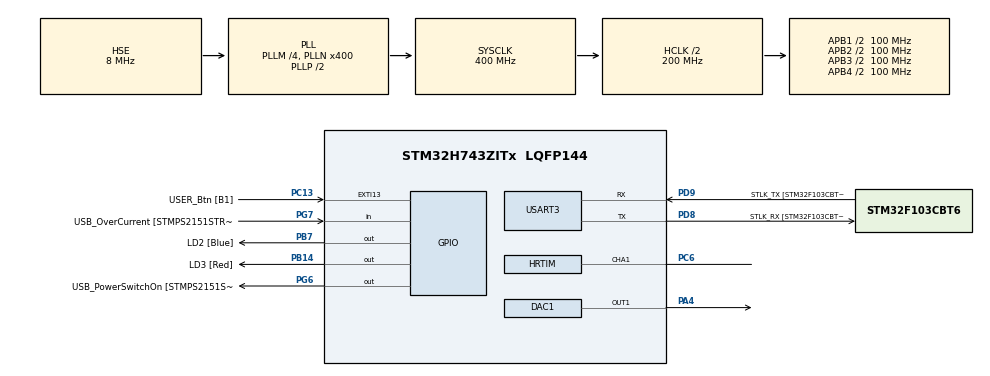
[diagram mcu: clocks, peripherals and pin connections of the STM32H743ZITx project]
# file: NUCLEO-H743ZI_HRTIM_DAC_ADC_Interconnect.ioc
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HRTIM.PreloadEnable-MasterTimer=HRTIM_PRELOAD_ENABLED
HRTIM.Periode_TA=0xFFF
DAC1.DAC_Channel-DAC_OUT1_ExtAndInt=DAC_CHANNEL_1
PB14.GPIO_Label=LD3 [Red]
PG6.GPIO_Label=USB_PowerSwitchOn [STMPS2151STR_EN]
PB13.Signal=ETH_TXD1
PG13.Signal=ETH_TXD0
RCC.SYSCLKSource=RCC_SYSCLKSOURCE_PLLCLK
USART3.VirtualMode-Asynchronous=VM_ASYNC
PA14\ (JTCK/SWCLK).Signal=DEBUG_JTCK-SWCLK
HRTIM.CompareUnit4-Output_TA1=__NULL
RCC.ADCCLockSelection=RCC_ADCCLKSOURCE_PLL3
RCC.APB2TimFreq_Value=216000000
HRTIM.PrescalerRatio_MASTER=HRTIM_PRESCALERRATIO_DIV1
PD8.Signal=USART3_TX
HRTIM.CompareUnit2-Output_TA1=__NULL
VP_HRTIM_VS_hrtimMasterTimerNoOutput.Mode=MasterTimer
RCC.DIVM3=5
RCC.DIVM2=5
RCC.DIVM1=4
PC4.GPIO_Label=RMII_RXD0
PA8.Signal=USB_OTG_FS_SOF
PA14\ (JTCK/SWCLK).Mode=Trace_Asynchronous_SW
RCC.CKPERSourceSelection=RCC_CLKPSOURCE_HSE
Mcu.Package=LQFP144
ADC2.Overrun=ADC_OVR_DATA_OVERWRITTEN
PA10.Signal=USB_OTG_FS_ID
PC14-OSC32_IN\ (OSC32_IN).Mode=LSE-External-Oscillator
RCC.APB2CLKDivider=RCC_HCLK_DIV2
RCC.APB4Freq_Value=100000000
RCC.APB1TimFreq_Value=108000000
DAC1.DAC_Trigger-DAC_OUT1_ExtAndInt=DAC_TRIGGER_HR1_TRGO1
PH0-OSC_IN\ (PH0).Mode=HSE-External-Clock-Source
RCC.DIVQ3=8
RCC.DIVQ1=4
PD9.GPIO_Label=STLK_TX [STM32F103CBT6_PA2]
HRTIM.NumberADCTriggerSource1=1
PA9.GPIO_Label=USB_VBUS
PC13.Signal=GPXTI13
PC6.Signal=HRTIM_CHA1
PA11.GPIO_Label=USB_DM
HRTIM.RepetitionUpdate-MasterTimer=HRTIM_UPDATEONREPETITION_ENABLED
RCC.APB1CLKDivider=RCC_HCLK_DIV4
PG13.GPIO_Label=RMII_TXD0
RCC.PWR_Regulator_Voltage_Scale=PWR_REGULATOR_VOLTAGE_SCALE1
PA8.GPIO_Label=USB_SOF [TP1]
ADC2.ContinuousConvMode=ENABLE
SH.COMP_DAC11_group.0=DAC1_OUT1,DAC_OUT1_ExtAndInt
PC6.Mode=Output_TA1
PA9.Signal=USB_OTG_FS_VBUS
RCC.DIVN3=250
RCC.DIVN2=125
RCC.DIVN1=400
HRTIM.ADCTrigger1_Source1=HRTIM_ADCTRIGGEREVENT13_MASTER_PERIOD
HRTIM.NumberSetSource1-Output_TA1=1
HRTIM.CompareUnit1-Output_TA1=HRTIM_COMPAREUNIT_1
PD8.Mode=Asynchronous
PB14.Signal=GPIO_Output
RCC.USBCLockSelection=RCC_USBCLKSOURCE_PLL3
ADC2.OffsetNumber-0\#ChannelRegularConversion=ADC_OFFSET_NONE
RCC.PRESCALERUSB=RCC_USBCLKSOURCE_PLL_DIV1_5
PG7.GPIO_Label=USB_OverCurrent [STMPS2151STR_FAULT]
PA1.GPIO_Label=RMII_REF_CLK
ADC2.Resolution=ADC_RESOLUTION_12B
HRTIM.CompareValue1-Output_TA1=3
PA4.Signal=COMP_DAC11_group
ADC2.NbrOfConversionFlag=1
PA11.Signal=USB_OTG_FS_DM
ProjectManager.HeapSize=0x200
HRTIM.PreloadEnable-Output_TA1=HRTIM_PRELOAD_ENABLED
NVIC.PriorityGroup=NVIC_PRIORITYGROUP_4
PB3\ (JTDO/TRACESWO).Mode=Trace_Asynchronous_SW
RCC.DIVR3=5
PC1.Signal=ETH_MDC
PA13\ (JTMS/SWDIO).Signal=DEBUG_JTMS-SWDIO
Mcu.Family=STM32H7
HRTIM.CompareUnit3-Output_TA1=__NULL
ADC2.ExternalTrigConv=ADC_EXTERNALTRIG_HR1_ADCTRG1
RCC.CortexFreq_Value=400000000
VP_ADC2_VS_DAC1_OUT1_L4.Mode=IN-DAC1-OUT1
PG6.Signal=GPIO_Output
RCC.HPRE=RCC_HCLK_DIV2
ADC2.Channel-0\#ChannelRegularConversion=ADC_CHANNEL_DAC1CH1_ADC2
PH0-OSC_IN\ (PH0).Signal=RCC_OSC_IN
PC15-OSC32_OUT\ (OSC32_OUT).Mode=LSE-External-Oscillator
RCC.SYSCLKSourceVirtual=RCC_SYSCLKSOURCE_PLLCLK
HRTIM.NumberResetSource1-Output_TA1=1
PC13.GPIO_Label=USER_Btn [B1]
PB13.GPIO_Label=RMII_TXD1
PD9.Mode=Asynchronous
PG11.Signal=ETH_TX_EN
ProjectManager.StackSize=0x400
HRTIM.ADCTrigger_Id1=HRTIM_ADCTRIGGER_1
NVIC.ADC_IRQn=true\:0\:0\:false\:false\:true\:true\:true
PA12.Signal=USB_OTG_FS_DP
RCC.HCLKFreq_Value=200000000
HRTIM.SetOutput1_Source1-Output_TA1=HRTIM_OUTPUTSET_TIMPER
RCC.AHBFreq_Value=216000000
RCC.HSE_VALUE=8000000
RCC.PLLMUL=RCC_PLL_MUL9
HRTIM.Periode_MASTER=0x7
PA10.GPIO_Label=USB_ID
PB7.Signal=GPIO_Output
RCC.APB3Freq_Value=100000000
PB7.GPIO_Label=LD2 [Blue]
RCC.D1PPRE=RCC_APB3_DIV2
PA2.GPIO_Label=RMII_MDIO
ADC2.SamplingTime-0\#ChannelRegularConversion=ADC_SAMPLETIME_810CYCLES_5
PG11.GPIO_Label=RMII_TX_EN
PC5.Signal=ETH_RXD1
ADC2.Rank-0\#ChannelRegularConversion=1
RCC.PLLSourceVirtual=RCC_PLLSOURCE_HSE
PG7.Signal=GPIO_Input
PA13\ (JTMS/SWDIO).Mode=Trace_Asynchronous_SW
HRTIM.CompareValue2-Output_TA1=3
PC4.Signal=ETH_RXD0
RCC.D2PPRE2=RCC_APB2_DIV2
RCC.D2PPRE1=RCC_APB1_DIV2
PD9.Signal=USART3_RX
HRTIM.DACSynchro-MasterTimer=HRTIM_DACSYNC_DACTRIGOUT_1
HRTIM.ResetOutput1_Source1-Output_TA1=HRTIM_OUTPUTRESET_TIMCMP1
ADC2.OffsetSignedSaturation-0\#ChannelRegularConversion=DISABLE
PA12.GPIO_Label=USB_DP
PH1-OSC_OUT\ (PH1).Signal=RCC_OSC_OUT
PD8.GPIO_Label=STLK_RX [STM32F103CBT6_PA3]
PB3\ (JTDO/TRACESWO).Signal=DEBUG_JTDO-SWO
ProjectManager.TargetToolchain=STM32CubeIDE
PC15-OSC32_OUT\ (OSC32_OUT).Signal=RCC_OSC32_OUT
RCC.USBFreq_Value=50000000
PA1.Signal=ETH_REF_CLK
board=NUCLEO-H743ZI
RCC.VCOOutputFreq_Value=432000000
RCC.APB2Freq_Value=100000000
RCC.ADCFreq_Value=80000000
PC1.GPIO_Label=RMII_MDC
HRTIM.RepetitionUpdate-Output_TA1=HRTIM_UPDATEONREPETITION_ENABLED
Mcu.Name=STM32H743ZITx
PA2.Signal=ETH_MDIO
RCC.48MHZClocksFreq_Value=24000000
RCC.SYSCLKFreq_VALUE=400000000
PA7.GPIO_Label=RMII_CRS_DV
PC14-OSC32_IN\ (OSC32_IN).Signal=RCC_OSC32_IN
PC5.GPIO_Label=RMII_RXD1
RCC.HSI_VALUE=64000000
ADC2.ExternalTrigConvEdge=ADC_EXTERNALTRIGCONVEDGE_FALLING
RCC.PLLQ=9
PH0-OSC_IN\ (PH0).GPIO_Label=MCO
RCC.PLLM=25
RCC.PLLN=432
RCC.D3PPRE=RCC_APB4_DIV2
RCC.APB1Freq_Value=100000000
DAC1.WaveGeneration-DAC_OUT1_ExtAndInt=TriangleWaveGeneration
PA7.Signal=ETH_CRS_DV
DAC1.TriangleAmplitude-DAC_OUT1_ExtAndInt=DAC_TRIANGLEAMPLITUDE_4095

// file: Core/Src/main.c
/* USER CODE BEGIN Header */
/**
  ******************************************************************************
  * @file           : main.c
  * @brief          : Main program body
  ******************************************************************************
  * @attention
  *
  * <h2><center>&copy; Copyright (c) 2021 STMicroelectronics.
  * All rights reserved.</center></h2>
  *
  * This software component is licensed by ST under BSD 3-Clause license,
  * the "License"; You may not use this file except in compliance with the
  * License. You may obtain a copy of the License at:
  *                        opensource.org/licenses/BSD-3-Clause
  *
  ******************************************************************************
  */
/* USER CODE END Header */
#include "main.h"

ADC_HandleTypeDef hadc2;

DAC_HandleTypeDef hdac1;

HRTIM_HandleTypeDef hhrtim;

UART_HandleTypeDef huart3;

/* USER CODE BEGIN PV */

uint32_t uwConvertedValue = 0;

/* USER CODE END PV */

void SystemClock_Config(void);
static void MX_GPIO_Init(void);
static void MX_USART3_UART_Init(void);
static void MX_ADC2_Init(void);
static void MX_DAC1_Init(void);
static void MX_HRTIM_Init(void);

int main(void)
{
  /* USER CODE BEGIN 1 */

	  /* Enable I-Cache */
	  SCB_EnableICache();

	  /* Enable D-Cache */
	  SCB_EnableDCache();

  /* USER CODE END 1 */

  /* MCU Configuration--------------------------------------------------------*/

  /* Reset of all peripherals, Initializes the Flash interface and the Systick. */
  HAL_Init();

  /* Configure the system clock */
  SystemClock_Config();

  /* Initialize all configured peripherals */
  MX_GPIO_Init();
  MX_USART3_UART_Init();
  MX_ADC2_Init();
  MX_DAC1_Init();
  MX_HRTIM_Init();
  /* USER CODE BEGIN 2 */

  /*## Enable DAC Channel1 ################################################################*/
  if (HAL_DAC_Start(&hdac1, DAC_CHANNEL_1) != HAL_OK)
  {
    /* Start Error */
    Error_Handler();
  }

  /*## Start ADC conversion ############################################################ */
  if (HAL_ADC_Start_IT(&hadc2) != HAL_OK)
  {
    Error_Handler();
  }

  /*## Start PWM signals generation ########################################################*/
  if (HAL_HRTIM_WaveformOutputStart(&hhrtim, HRTIM_OUTPUT_TA1) != HAL_OK)
  {
    /* PWM Generation Error */
    Error_Handler();
  }

  /*## Start HRTIM counter ###################################################################*/
	if (HAL_HRTIM_WaveformCounterStart(&hhrtim, HRTIM_TIMERID_MASTER + HRTIM_TIMERID_TIMER_A) != HAL_OK)
  {
    /* PWM Generation Error */
    Error_Handler();
  }

  /* USER CODE END 2 */

  /* Infinite loop */
  while (1)
  {

  }
}

void SystemClock_Config(void)
{
  RCC_OscInitTypeDef RCC_OscInitStruct = {0};
  RCC_ClkInitTypeDef RCC_ClkInitStruct = {0};

  /** Supply configuration update enable
  */
  HAL_PWREx_ConfigSupply(PWR_LDO_SUPPLY);
  /** Configure the main internal regulator output voltage
  */
  __HAL_PWR_VOLTAGESCALING_CONFIG(PWR_REGULATOR_VOLTAGE_SCALE1);

  while(!__HAL_PWR_GET_FLAG(PWR_FLAG_VOSRDY)) {}
  /** Macro to configure the PLL clock source
  */
  __HAL_RCC_PLL_PLLSOURCE_CONFIG(RCC_PLLSOURCE_HSE);
  /** Initializes the RCC Oscillators according to the specified parameters
  * in the RCC_OscInitTypeDef structure.
  */
  RCC_OscInitStruct.OscillatorType = RCC_OSCILLATORTYPE_HSE;
  RCC_OscInitStruct.HSEState = RCC_HSE_BYPASS;
  RCC_OscInitStruct.PLL.PLLState = RCC_PLL_ON;
  RCC_OscInitStruct.PLL.PLLSource = RCC_PLLSOURCE_HSE;
  RCC_OscInitStruct.PLL.PLLM = 4;
  RCC_OscInitStruct.PLL.PLLN = 400;
  RCC_OscInitStruct.PLL.PLLP = 2;
  RCC_OscInitStruct.PLL.PLLQ = 4;
  RCC_OscInitStruct.PLL.PLLR = 2;
  RCC_OscInitStruct.PLL.PLLRGE = RCC_PLL1VCIRANGE_1;
  RCC_OscInitStruct.PLL.PLLVCOSEL = RCC_PLL1VCOWIDE;
  RCC_OscInitStruct.PLL.PLLFRACN = 0;
  if (HAL_RCC_OscConfig(&RCC_OscInitStruct) != HAL_OK)
  {
    Error_Handler();
  }
  /** Initializes the CPU, AHB and APB buses clocks
  */
  RCC_ClkInitStruct.ClockType = RCC_CLOCKTYPE_HCLK|RCC_CLOCKTYPE_SYSCLK
                              |RCC_CLOCKTYPE_PCLK1|RCC_CLOCKTYPE_PCLK2
                              |RCC_CLOCKTYPE_D3PCLK1|RCC_CLOCKTYPE_D1PCLK1;
  RCC_ClkInitStruct.SYSCLKSource = RCC_SYSCLKSOURCE_PLLCLK;
  RCC_ClkInitStruct.SYSCLKDivider = RCC_SYSCLK_DIV1;
  RCC_ClkInitStruct.AHBCLKDivider = RCC_HCLK_DIV2;
  RCC_ClkInitStruct.APB3CLKDivider = RCC_APB3_DIV2;
  RCC_ClkInitStruct.APB1CLKDivider = RCC_APB1_DIV2;
  RCC_ClkInitStruct.APB2CLKDivider = RCC_APB2_DIV2;
  RCC_ClkInitStruct.APB4CLKDivider = RCC_APB4_DIV2;

  if (HAL_RCC_ClockConfig(&RCC_ClkInitStruct, FLASH_LATENCY_2) != HAL_OK)
  {
    Error_Handler();
  }
}

static void MX_ADC2_Init(void)
{

  ADC_ChannelConfTypeDef sConfig = {0};

  /** Common config
  */
  hadc2.Instance = ADC2;
  hadc2.Init.ClockPrescaler = ADC_CLOCK_ASYNC_DIV4;
  hadc2.Init.Resolution = ADC_RESOLUTION_12B;
  hadc2.Init.ScanConvMode = ADC_SCAN_DISABLE;
  hadc2.Init.EOCSelection = ADC_EOC_SINGLE_CONV;
  hadc2.Init.LowPowerAutoWait = DISABLE;
  hadc2.Init.ContinuousConvMode = ENABLE;
  hadc2.Init.NbrOfConversion = 1;
  hadc2.Init.DiscontinuousConvMode = DISABLE;
  hadc2.Init.ExternalTrigConv = ADC_EXTERNALTRIG_HR1_ADCTRG1;
  hadc2.Init.ExternalTrigConvEdge = ADC_EXTERNALTRIGCONVEDGE_FALLING;
  hadc2.Init.ConversionDataManagement = ADC_CONVERSIONDATA_DR;
  hadc2.Init.Overrun = ADC_OVR_DATA_OVERWRITTEN;
  hadc2.Init.LeftBitShift = ADC_LEFTBITSHIFT_NONE;
  hadc2.Init.OversamplingMode = DISABLE;
  if (HAL_ADC_Init(&hadc2) != HAL_OK)
  {
    Error_Handler();
  }
  /** Configure Regular Channel
  */
  sConfig.Channel = ADC_CHANNEL_DAC1CH1_ADC2;
  sConfig.Rank = ADC_REGULAR_RANK_1;
  sConfig.SamplingTime = ADC_SAMPLETIME_810CYCLES_5;
  sConfig.SingleDiff = ADC_SINGLE_ENDED;
  sConfig.OffsetNumber = ADC_OFFSET_NONE;
  sConfig.Offset = 0;
  sConfig.OffsetSignedSaturation = DISABLE;
  if (HAL_ADC_ConfigChannel(&hadc2, &sConfig) != HAL_OK)
  {
    Error_Handler();
  }
  /* USER CODE BEGIN ADC2_Init 2 */

  if (HAL_ADCEx_Calibration_Start(&hadc2, ADC_CALIB_OFFSET, ADC_SINGLE_ENDED) != HAL_OK)
  {
    Error_Handler();
  }

  /* USER CODE END ADC2_Init 2 */

}

static void MX_DAC1_Init(void)
{

  DAC_ChannelConfTypeDef sConfig = {0};

  /** DAC Initialization
  */
  hdac1.Instance = DAC1;
  if (HAL_DAC_Init(&hdac1) != HAL_OK)
  {
    Error_Handler();
  }
  /** DAC channel OUT1 config
  */
  sConfig.DAC_SampleAndHold = DAC_SAMPLEANDHOLD_DISABLE;
  sConfig.DAC_Trigger = DAC_TRIGGER_HR1_TRGO1;
  sConfig.DAC_OutputBuffer = DAC_OUTPUTBUFFER_ENABLE;
  sConfig.DAC_ConnectOnChipPeripheral = DAC_CHIPCONNECT_ENABLE;
  sConfig.DAC_UserTrimming = DAC_TRIMMING_FACTORY;
  if (HAL_DAC_ConfigChannel(&hdac1, &sConfig, DAC_CHANNEL_1) != HAL_OK)
  {
    Error_Handler();
  }
  /** Configure Triangle wave generation on DAC OUT1
  */
  if (HAL_DACEx_TriangleWaveGenerate(&hdac1, DAC_CHANNEL_1, DAC_TRIANGLEAMPLITUDE_4095) != HAL_OK)
  {
    Error_Handler();
  }

}

static void MX_HRTIM_Init(void)
{

  HRTIM_ADCTriggerCfgTypeDef pADCTriggerCfg = {0};
  HRTIM_TimeBaseCfgTypeDef pTimeBaseCfg = {0};
  HRTIM_TimerCfgTypeDef pTimerCfg = {0};
  HRTIM_CompareCfgTypeDef pCompareCfg = {0};
  HRTIM_OutputCfgTypeDef pOutputCfg = {0};

  hhrtim.Instance = HRTIM1;
  hhrtim.Init.HRTIMInterruptResquests = HRTIM_IT_NONE;
  hhrtim.Init.SyncOptions = HRTIM_SYNCOPTION_NONE;
  if (HAL_HRTIM_Init(&hhrtim) != HAL_OK)
  {
    Error_Handler();
  }
  pADCTriggerCfg.UpdateSource = HRTIM_ADCTRIGGERUPDATE_MASTER;
  pADCTriggerCfg.Trigger = HRTIM_ADCTRIGGEREVENT13_MASTER_PERIOD;
  if (HAL_HRTIM_ADCTriggerConfig(&hhrtim, HRTIM_ADCTRIGGER_1, &pADCTriggerCfg) != HAL_OK)
  {
    Error_Handler();
  }
  pTimeBaseCfg.Period = 0x7;
  pTimeBaseCfg.RepetitionCounter = 0x00;
  pTimeBaseCfg.PrescalerRatio = HRTIM_PRESCALERRATIO_DIV1;
  pTimeBaseCfg.Mode = HRTIM_MODE_CONTINUOUS;
  if (HAL_HRTIM_TimeBaseConfig(&hhrtim, HRTIM_TIMERINDEX_MASTER, &pTimeBaseCfg) != HAL_OK)
  {
    Error_Handler();
  }
  pTimerCfg.InterruptRequests = HRTIM_MASTER_IT_NONE;
  pTimerCfg.DMARequests = HRTIM_MASTER_DMA_NONE;
  pTimerCfg.DMASrcAddress = 0x0000;
  pTimerCfg.DMADstAddress = 0x0000;
  pTimerCfg.DMASize = 0x1;
  pTimerCfg.HalfModeEnable = HRTIM_HALFMODE_DISABLED;
  pTimerCfg.StartOnSync = HRTIM_SYNCSTART_DISABLED;
  pTimerCfg.ResetOnSync = HRTIM_SYNCRESET_DISABLED;
  pTimerCfg.DACSynchro = HRTIM_DACSYNC_DACTRIGOUT_1;
  pTimerCfg.PreloadEnable = HRTIM_PRELOAD_ENABLED;
  pTimerCfg.UpdateGating = HRTIM_UPDATEGATING_INDEPENDENT;
  pTimerCfg.BurstMode = HRTIM_TIMERBURSTMODE_MAINTAINCLOCK;
  pTimerCfg.RepetitionUpdate = HRTIM_UPDATEONREPETITION_ENABLED;
  if (HAL_HRTIM_WaveformTimerConfig(&hhrtim, HRTIM_TIMERINDEX_MASTER, &pTimerCfg) != HAL_OK)
  {
    Error_Handler();
  }
  pTimeBaseCfg.Period = 0xFFF;
  if (HAL_HRTIM_TimeBaseConfig(&hhrtim, HRTIM_TIMERINDEX_TIMER_A, &pTimeBaseCfg) != HAL_OK)
  {
    Error_Handler();
  }
  pTimerCfg.InterruptRequests = HRTIM_TIM_IT_NONE;
  pTimerCfg.DMARequests = HRTIM_TIM_DMA_NONE;
  pTimerCfg.DACSynchro = HRTIM_DACSYNC_NONE;
  pTimerCfg.PushPull = HRTIM_TIMPUSHPULLMODE_DISABLED;
  pTimerCfg.FaultEnable = HRTIM_TIMFAULTENABLE_NONE;
  pTimerCfg.FaultLock = HRTIM_TIMFAULTLOCK_READWRITE;
  pTimerCfg.DeadTimeInsertion = HRTIM_TIMDEADTIMEINSERTION_DISABLED;
  pTimerCfg.DelayedProtectionMode = HRTIM_TIMER_A_B_C_DELAYEDPROTECTION_DISABLED;
  pTimerCfg.UpdateTrigger = HRTIM_TIMUPDATETRIGGER_NONE;
  pTimerCfg.ResetTrigger = HRTIM_TIMRESETTRIGGER_NONE;
  pTimerCfg.ResetUpdate = HRTIM_TIMUPDATEONRESET_DISABLED;
  if (HAL_HRTIM_WaveformTimerConfig(&hhrtim, HRTIM_TIMERINDEX_TIMER_A, &pTimerCfg) != HAL_OK)
  {
    Error_Handler();
  }
  pCompareCfg.CompareValue = 3;
  if (HAL_HRTIM_WaveformCompareConfig(&hhrtim, HRTIM_TIMERINDEX_TIMER_A, HRTIM_COMPAREUNIT_1, &pCompareCfg) != HAL_OK)
  {
    Error_Handler();
  }
  pOutputCfg.Polarity = HRTIM_OUTPUTPOLARITY_HIGH;
  pOutputCfg.SetSource = HRTIM_OUTPUTSET_TIMPER;
  pOutputCfg.ResetSource = HRTIM_OUTPUTRESET_TIMCMP1;
  pOutputCfg.IdleMode = HRTIM_OUTPUTIDLEMODE_NONE;
  pOutputCfg.IdleLevel = HRTIM_OUTPUTIDLELEVEL_INACTIVE;
  pOutputCfg.FaultLevel = HRTIM_OUTPUTFAULTLEVEL_NONE;
  pOutputCfg.ChopperModeEnable = HRTIM_OUTPUTCHOPPERMODE_DISABLED;
  pOutputCfg.BurstModeEntryDelayed = HRTIM_OUTPUTBURSTMODEENTRY_REGULAR;
  if (HAL_HRTIM_WaveformOutputConfig(&hhrtim, HRTIM_TIMERINDEX_TIMER_A, HRTIM_OUTPUT_TA1, &pOutputCfg) != HAL_OK)
  {
    Error_Handler();
  }
  HAL_HRTIM_MspPostInit(&hhrtim);

}

static void MX_USART3_UART_Init(void)
{

  huart3.Instance = USART3;
  huart3.Init.BaudRate = 115200;
  huart3.Init.WordLength = UART_WORDLENGTH_8B;
  huart3.Init.StopBits = UART_STOPBITS_1;
  huart3.Init.Parity = UART_PARITY_NONE;
  huart3.Init.Mode = UART_MODE_TX_RX;
  huart3.Init.HwFlowCtl = UART_HWCONTROL_NONE;
  huart3.Init.OverSampling = UART_OVERSAMPLING_16;
  huart3.Init.OneBitSampling = UART_ONE_BIT_SAMPLE_DISABLE;
  huart3.Init.ClockPrescaler = UART_PRESCALER_DIV1;
  huart3.AdvancedInit.AdvFeatureInit = UART_ADVFEATURE_NO_INIT;
  if (HAL_UART_Init(&huart3) != HAL_OK)
  {
    Error_Handler();
  }
  if (HAL_UARTEx_SetTxFifoThreshold(&huart3, UART_TXFIFO_THRESHOLD_1_8) != HAL_OK)
  {
    Error_Handler();
  }
  if (HAL_UARTEx_SetRxFifoThreshold(&huart3, UART_RXFIFO_THRESHOLD_1_8) != HAL_OK)
  {
    Error_Handler();
  }
  if (HAL_UARTEx_DisableFifoMode(&huart3) != HAL_OK)
  {
    Error_Handler();
  }

}

static void MX_GPIO_Init(void)
{
  GPIO_InitTypeDef GPIO_InitStruct = {0};

  /* GPIO Ports Clock Enable */
  __HAL_RCC_GPIOC_CLK_ENABLE();
  __HAL_RCC_GPIOH_CLK_ENABLE();
  __HAL_RCC_GPIOA_CLK_ENABLE();
  __HAL_RCC_GPIOB_CLK_ENABLE();
  __HAL_RCC_GPIOD_CLK_ENABLE();
  __HAL_RCC_GPIOG_CLK_ENABLE();

  /*Configure GPIO pin Output Level */
  HAL_GPIO_WritePin(GPIOB, LD3_Pin|LD2_Pin, GPIO_PIN_RESET);

  /*Configure GPIO pin Output Level */
  HAL_GPIO_WritePin(USB_PowerSwitchOn_GPIO_Port, USB_PowerSwitchOn_Pin, GPIO_PIN_RESET);

  /*Configure GPIO pin : USER_Btn_Pin */
  GPIO_InitStruct.Pin = USER_Btn_Pin;
  GPIO_InitStruct.Mode = GPIO_MODE_IT_RISING;
  GPIO_InitStruct.Pull = GPIO_NOPULL;
  HAL_GPIO_Init(USER_Btn_GPIO_Port, &GPIO_InitStruct);

  /*Configure GPIO pins : RMII_MDC_Pin RMII_RXD0_Pin RMII_RXD1_Pin */
  GPIO_InitStruct.Pin = RMII_MDC_Pin|RMII_RXD0_Pin|RMII_RXD1_Pin;
  GPIO_InitStruct.Mode = GPIO_MODE_AF_PP;
  GPIO_InitStruct.Pull = GPIO_NOPULL;
  GPIO_InitStruct.Speed = GPIO_SPEED_FREQ_LOW;
  GPIO_InitStruct.Alternate = GPIO_AF11_ETH;
  HAL_GPIO_Init(GPIOC, &GPIO_InitStruct);

  /*Configure GPIO pins : RMII_REF_CLK_Pin RMII_MDIO_Pin RMII_CRS_DV_Pin */
  GPIO_InitStruct.Pin = RMII_REF_CLK_Pin|RMII_MDIO_Pin|RMII_CRS_DV_Pin;
  GPIO_InitStruct.Mode = GPIO_MODE_AF_PP;
  GPIO_InitStruct.Pull = GPIO_NOPULL;
  GPIO_InitStruct.Speed = GPIO_SPEED_FREQ_LOW;
  GPIO_InitStruct.Alternate = GPIO_AF11_ETH;
  HAL_GPIO_Init(GPIOA, &GPIO_InitStruct);

  /*Configure GPIO pin : RMII_TXD1_Pin */
  GPIO_InitStruct.Pin = RMII_TXD1_Pin;
  GPIO_InitStruct.Mode = GPIO_MODE_AF_PP;
  GPIO_InitStruct.Pull = GPIO_NOPULL;
  GPIO_InitStruct.Speed = GPIO_SPEED_FREQ_LOW;
  GPIO_InitStruct.Alternate = GPIO_AF11_ETH;
  HAL_GPIO_Init(RMII_TXD1_GPIO_Port, &GPIO_InitStruct);

  /*Configure GPIO pins : LD3_Pin LD2_Pin */
  GPIO_InitStruct.Pin = LD3_Pin|LD2_Pin;
  GPIO_InitStruct.Mode = GPIO_MODE_OUTPUT_PP;
  GPIO_InitStruct.Pull = GPIO_NOPULL;
  GPIO_InitStruct.Speed = GPIO_SPEED_FREQ_LOW;
  HAL_GPIO_Init(GPIOB, &GPIO_InitStruct);

  /*Configure GPIO pin : USB_PowerSwitchOn_Pin */
  GPIO_InitStruct.Pin = USB_PowerSwitchOn_Pin;
  GPIO_InitStruct.Mode = GPIO_MODE_OUTPUT_PP;
  GPIO_InitStruct.Pull = GPIO_NOPULL;
  GPIO_InitStruct.Speed = GPIO_SPEED_FREQ_LOW;
  HAL_GPIO_Init(USB_PowerSwitchOn_GPIO_Port, &GPIO_InitStruct);

  /*Configure GPIO pin : USB_OverCurrent_Pin */
  GPIO_InitStruct.Pin = USB_OverCurrent_Pin;
  GPIO_InitStruct.Mode = GPIO_MODE_INPUT;
  GPIO_InitStruct.Pull = GPIO_NOPULL;
  HAL_GPIO_Init(USB_OverCurrent_GPIO_Port, &GPIO_InitStruct);

  /*Configure GPIO pins : USB_SOF_Pin USB_ID_Pin USB_DM_Pin USB_DP_Pin */
  GPIO_InitStruct.Pin = USB_SOF_Pin|USB_ID_Pin|USB_DM_Pin|USB_DP_Pin;
  GPIO_InitStruct.Mode = GPIO_MODE_AF_PP;
  GPIO_InitStruct.Pull = GPIO_NOPULL;
  GPIO_InitStruct.Speed = GPIO_SPEED_FREQ_LOW;
  GPIO_InitStruct.Alternate = GPIO_AF10_OTG1_FS;
  HAL_GPIO_Init(GPIOA, &GPIO_InitStruct);

  /*Configure GPIO pins : RMII_TX_EN_Pin RMII_TXD0_Pin */
  GPIO_InitStruct.Pin = RMII_TX_EN_Pin|RMII_TXD0_Pin;
  GPIO_InitStruct.Mode = GPIO_MODE_AF_PP;
  GPIO_InitStruct.Pull = GPIO_NOPULL;
  GPIO_InitStruct.Speed = GPIO_SPEED_FREQ_LOW;
  GPIO_InitStruct.Alternate = GPIO_AF11_ETH;
  HAL_GPIO_Init(GPIOG, &GPIO_InitStruct);

}

/* USER CODE BEGIN 4 */

void HAL_ADC_ConvCpltCallback(ADC_HandleTypeDef* hadc)
{
  /* Read the converted value */
  uwConvertedValue = HAL_ADC_GetValue(hadc);

  __HAL_HRTIM_SETCOMPARE(&hhrtim, 0, HRTIM_COMPAREUNIT_1, uwConvertedValue);
}

/* USER CODE END 4 */

void Error_Handler(void)
{
  __disable_irq();
  while (1)
  {
  }
}

/************************ (C) COPYRIGHT STMicroelectronics *****END OF FILE****/
